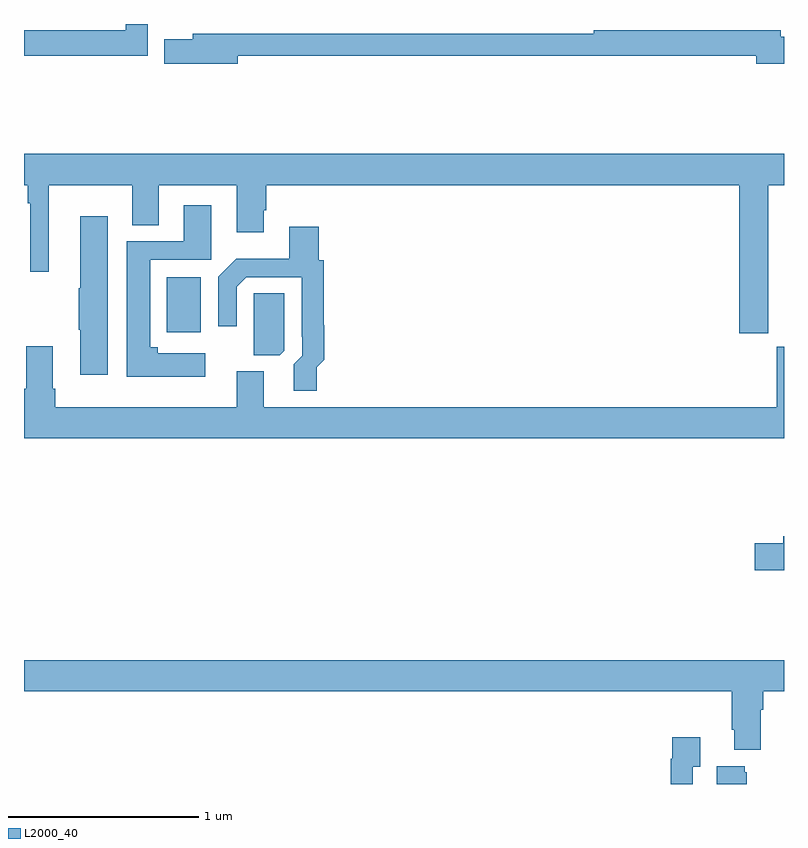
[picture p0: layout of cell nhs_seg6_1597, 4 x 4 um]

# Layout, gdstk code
import gdstk
lib = gdstk.Library(unit=1e-6, precision=1e-09)
def R(c, l, rs):  # rectangles x0, y0, x1, y1
    for r in rs: c.add(gdstk.rectangle(r[:2], r[2:], *l))
def P(c, l, *ps):  # polygons
    for p in ps: c.add(gdstk.Polygon(p, *l))
L2000_40 = (2000, 40)

nhs_seg6_1597 = lib.new_cell('nhs_seg6_1597')
R(nhs_seg6_1597, L2000_40, [(207.752,963.878,207.931,964.168)])
P(nhs_seg6_1597, L2000_40, [(207.651,965.5),(207.535,965.5),(207.535,965.468),(207,965.468),(207,965.332),(207.651,965.332)],
  [(208.126,965.332),(210.854,965.332),(210.854,965.29),(211,965.29),(211,965.432),(210.982,965.432),(210.982,965.468),(209.998,965.468),(209.998,965.448),(207.887,965.448),(207.887,965.419),(207.738,965.419),(207.738,965.29),(208.126,965.29)],
  [(210.916,964.652),(211,964.652),(211,964.816),(207,964.816),(207,964.652),(207.02,964.652),(207.02,964.556),(207.033,964.556),(207.033,964.197),(207.13,964.197),(207.13,964.652),(207.569,964.652),(207.569,964.441),(207.709,964.441),(207.709,964.652),(208.121,964.652),(208.121,964.404),(208.261,964.404),(208.261,964.519),(208.274,964.519),(208.274,964.652),(210.764,964.652),(210.764,963.873),(210.916,963.873)],
  [(207.955,963.766),(207.705,963.766),(207.705,963.798),(207.664,963.798),(207.664,964.26),(207.985,964.26),(207.985,964.546),(207.842,964.546),(207.842,964.356),(207.542,964.356),(207.542,963.644),(207.955,963.644)],
  [(207.442,964.489),(207.296,964.489),(207.296,964.109),(207.289,964.109),(207.289,963.892),(207.296,963.892),(207.296,963.654),(207.442,963.654)],
  [(208.541,963.693),(208.58,963.732),(208.58,963.914),(208.577,963.914),(208.577,964.257),(208.55,964.257),(208.55,964.432),(208.397,964.432),(208.397,964.264),(208.117,964.264),(208.023,964.17),(208.023,963.909),(208.119,963.909),(208.119,964.116),(208.17,964.167),(208.461,964.167),(208.461,963.853),(208.464,963.853),(208.464,963.753),(208.421,963.71),(208.421,963.57),(208.541,963.57)],
  [(208.371,963.78),(208.371,964.082),(208.209,964.082),(208.209,963.971),(208.208,963.971),(208.208,963.757),(208.347,963.757)],
  [(211,963.801),(210.962,963.801),(210.962,963.484),(208.261,963.484),(208.261,963.672),(208.121,963.672),(208.121,963.484),(207.164,963.484),(207.164,963.58),(207.151,963.58),(207.151,963.805),(207.011,963.805),(207.011,963.58),(207,963.58),(207,963.32),(211,963.32)],
  [(211,962.804),(210.995,962.804),(210.995,962.768),(210.846,962.768),(210.846,962.626),(211,962.626)],
  [(210.877,961.892),(210.89,961.892),(210.89,961.988),(211,961.988),(211,962.152),(207,962.152),(207,961.988),(210.725,961.988),(210.725,961.786),(210.737,961.786),(210.737,961.679),(210.877,961.679)],
  [(210.519,961.591),(210.559,961.591),(210.559,961.747),(210.411,961.747),(210.411,961.634),(210.403,961.634),(210.403,961.5),(210.519,961.5)],
  [(210.805,961.563),(210.794,961.563),(210.794,961.594),(210.647,961.594),(210.647,961.5),(210.805,961.5)])

lib.write_gds('nhs_seg6_1597.gds')
